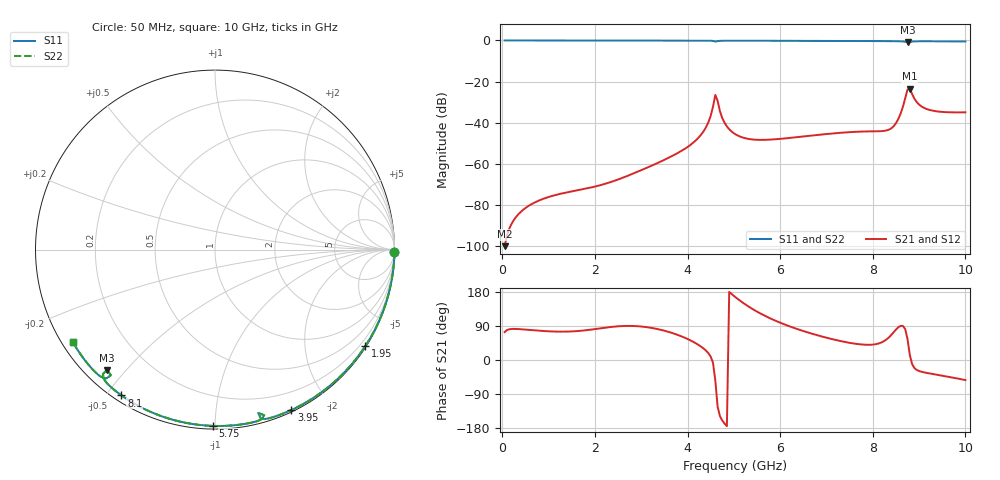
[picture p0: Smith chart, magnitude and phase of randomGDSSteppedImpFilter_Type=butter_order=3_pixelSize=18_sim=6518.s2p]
! freq	dB(S11)	phase(S11)	dB(S12)	phase(S12)
!  dB(S21)	phase(S21)	dB(S22)	phase(S22)
!S-par simulation data
#  GHz  S  DB  R 50
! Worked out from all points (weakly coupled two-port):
!   200 points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, 50 MHz to 10 GHz, reference 50 ohm
!   highest |S21| = -23.44 dB at 8.8 GHz (marker M1); lowest = -100.0 dB at 50 MHz (marker M2)
!   lowest |S11| = -0.9 dB at 8.75 GHz (marker M3), VSWR 19.20, Z = 3.12 - j22.3 ohm
!   |S11| at or under -10 dB: nowhere
!   |S22| runs from -0.9 to 0.0 dB; largest |S21 - S12| = 0
!   S11 on the Smith chart (normalised r, x): 50 MHz: open; 1.95 GHz: 0.03, -3.40; 3.95 GHz: 0.02, -1.58; 5.75 GHz: 0.02, -0.99; 8.1 GHz: 0.02, -0.55; 10 GHz: 0.03, -0.30
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0.05  -0.00 -0.9  -100.03 73.5  -100.03 73.5  -0.00 -0.9
0.6  -0.01 -10.2  -80.00 79.3  -80.00 79.3  -0.01 -10.2
1.75  -0.04 -29.5  -72.30 77.8  -72.30 77.8  -0.04 -29.5
1.95  -0.04 -32.8  -71.33 80.7  -71.33 80.7  -0.04 -32.8
3.4  -0.07 -56.0  -59.09 80.3  -59.09 80.3  -0.07 -56.0
3.95  -0.09 -64.6  -52.58 58.3  -52.58 58.3  -0.09 -64.6
4.2  -0.10 -68.5  -48.15 42.6  -48.15 42.6  -0.10 -68.5
4.4  -0.11 -71.7  -42.15 24.6  -42.15 24.6  -0.11 -71.7
4.5  -0.14 -73.6  -36.68 8.9  -36.68 8.9  -0.14 -73.6
4.6  -0.53 -75.2  -26.46 -54.2  -26.46 -54.2  -0.53 -75.2
4.8  -0.13 -76.6  -40.06 -167.9  -40.06 -167.9  -0.13 -76.6
5.05  -0.13 -80.5  -45.81 164.3  -45.81 164.3  -0.13 -80.5
5.75  -0.15 -90.7  -48.25 111.9  -48.25 111.9  -0.15 -90.7
6.7  -0.20 -103.9  -46.20 68.9  -46.20 68.9  -0.20 -103.9
8.1  -0.31 -122.7  -44.17 42.7  -44.17 42.7  -0.31 -122.7
8.35  -0.34 -126.1  -43.36 59.8  -43.36 59.8  -0.34 -126.1
8.55  -0.39 -129.2  -38.26 86.2  -38.26 86.2  -0.39 -129.2
8.75  -0.91 -131.9  -23.94 55.6  -23.94 55.6  -0.90 -131.9
8.8  -0.83 -129.6  -23.44 13.4  -23.44 13.4  -0.83 -129.7
8.95  -0.42 -132.2  -29.99 -26.3  -29.99 -26.3  -0.42 -132.2
9.15  -0.41 -135.4  -33.21 -33.7  -33.21 -33.7  -0.41 -135.4
10  -0.49 -146.8  -34.94 -53.0  -34.94 -53.0  -0.49 -146.8
